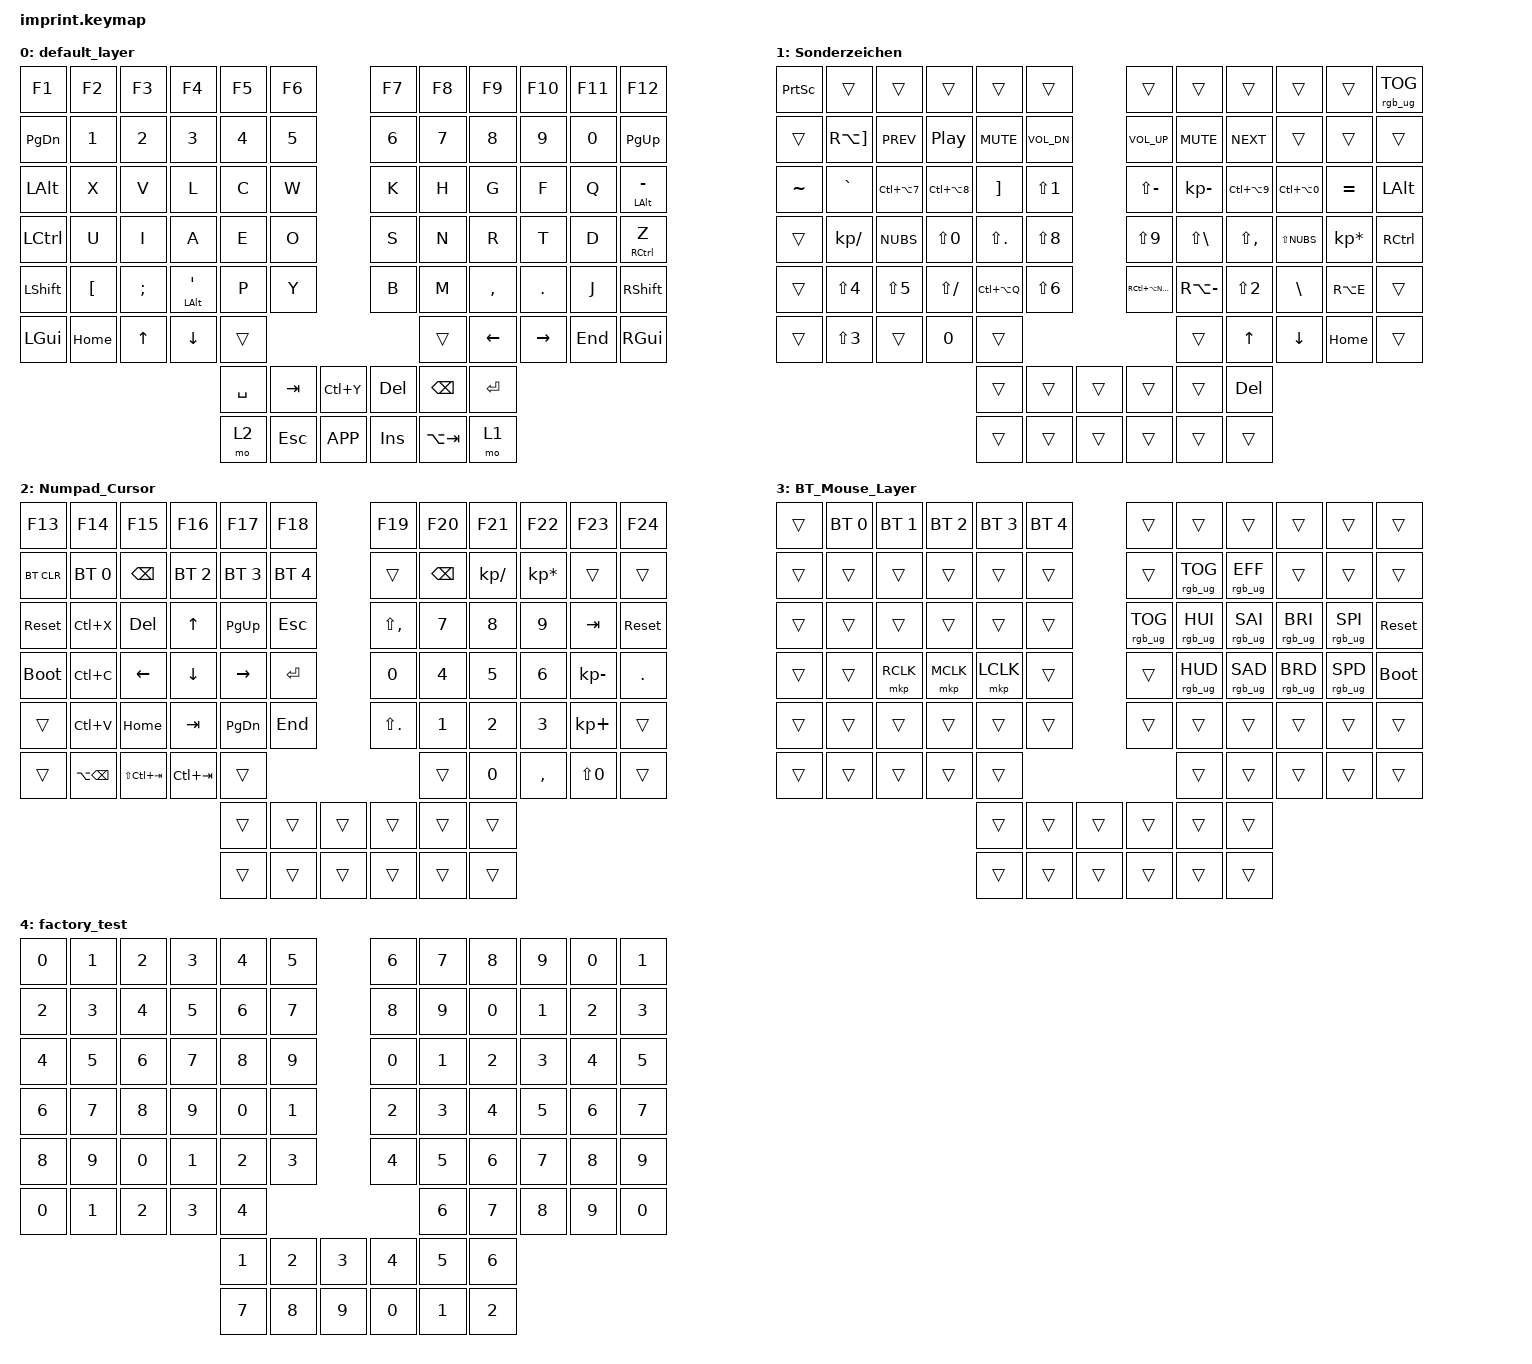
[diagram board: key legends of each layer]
#include <input/processors.dtsi>
#include <dt-bindings/zmk/input_transform.h>
#include <behaviors.dtsi>
#include <dt-bindings/zmk/bt.h>
#include <dt-bindings/zmk/keys.h>
#include <dt-bindings/zmk/pointing.h>
#include <dt-bindings/zmk/rgb.h>

/ {
    chosen { zmk,matrix-transform = &imprint_function_row_full_bottom_row; };

    keymap {
        compatible = "zmk,keymap";

        default_layer {
            bindings = <
&kp F1     &kp F2    &kp F3    &kp F4         &kp F5     &kp F6                &kp F7   &kp F8       &kp F9      &kp F10    &kp F11  &kp F12
&kp PG_DN  &kp N1    &kp N2    &kp N3         &kp N4     &kp N5                &kp N6   &kp N7       &kp N8      &kp N9     &kp N0   &kp PG_UP
&kp LALT   &kp X     &kp V     &kp L          &kp C      &kp W                 &kp K    &kp H        &kp G       &kp F      &kp Q    &mt LALT MINUS
&kp LCTRL  &kp U     &kp I     &kp A          &kp E      &kp O                 &kp S    &kp N        &kp R       &kp T      &kp D    &mt RCTRL Z
&kp LSHFT  &kp LBKT  &kp SEMI  &mt LALT APOS  &kp P      &kp Y                 &kp B    &kp M        &kp COMMA   &kp DOT    &kp J    &kp RSHFT
&kp LGUI   &kp HOME  &kp UP    &kp DOWN       &trans                                    &trans       &kp LEFT    &kp RIGHT  &kp END  &kp RGUI
                                              &kp SPACE  &kp TAB  &kp LC(Y)    &kp DEL  &kp BSPC     &kp RETURN
                                              &mo 2      &kp ESC  &kp K_APP    &kp INS  &kp LA(TAB)  &mo 1
            >;
        };

        Sonderzeichen {
            bindings = <
&kp PRINTSCREEN  &trans        &trans          &trans            &trans             &trans                  &trans            &trans             &trans          &trans          &trans           &rgb_ug RGB_TOG
&trans     &kp RA(RIGHT_BRACKET) &kp C_PREV      &kp C_PLAY_PAUSE  &kp C_MUTE         &kp C_VOL_DN            &kp C_VOL_UP      &kp C_MUTE         &kp C_NEXT      &trans          &trans           &trans
&kp TILDE        &kp GRAVE     &kp LC(LA(N7))  &kp LC(LA(N8))    &kp RIGHT_BRACKET  &kp LS(N1)              &kp LS(MINUS)     &kp KP_MINUS       &kp LC(LA(N9))  &kp LC(LA(N0))  &kp EQUAL        &kp LALT
&trans           &kp KP_SLASH  &kp NUBS        &kp LS(N0)        &kp LS(DOT)        &kp LS(N8)              &kp LS(N9)        &kp LS(BACKSLASH)  &kp LS(COMMA)   &kp LS(NUBS)    &kp KP_MULTIPLY  &kp RCTRL
&trans           &kp LS(N4)    &kp LS(N5)      &kp LS(SLASH)     &kp LC(LA(Q))      &kp LS(N6)              &kp RC(LA(NUBS))  &kp RA(MINUS)      &kp LS(N2)      &kp BACKSLASH   &kp RA(E)        &trans
&trans           &kp LS(N3)    &trans          &kp N0            &trans                                                       &trans             &kp UP          &kp DOWN        &kp HOME         &trans
                                                                 &trans             &trans        &trans    &trans            &trans             &kp DEL
                                                                 &trans             &trans        &trans    &trans            &trans             &trans
            >;
        };

        Numpad_Cursor {
            bindings = <
&kp F13      &kp F14       &kp F15          &kp F16       &kp F17       &kp F18                 &kp F19        &kp F20   &kp F21       &kp F22          &kp F23       &kp F24
&bt BT_CLR   &bt BT_SEL 0  &kp BSPC         &bt BT_SEL 2  &bt BT_SEL 3  &bt BT_SEL 4            &trans         &kp BSPC  &kp KP_SLASH  &kp KP_MULTIPLY  &trans        &trans
&sys_reset   &kp LC(X)     &kp DEL          &kp UP        &kp PG_UP     &kp ESC                 &kp LS(COMMA)  &kp N7    &kp N8        &kp N9           &kp TAB       &sys_reset
&bootloader  &kp LC(C)     &kp LEFT         &kp DOWN      &kp RIGHT     &kp RETURN              &kp N0         &kp N4    &kp N5        &kp N6           &kp KP_MINUS  &kp DOT
&trans       &kp LC(V)     &kp HOME         &kp TAB       &kp PG_DN     &kp END                 &kp LS(DOT)    &kp N1    &kp N2        &kp N3           &kp KP_PLUS   &trans
&trans       &kp LA(BSPC)  &kp LS(LC(TAB))  &kp LC(TAB)   &trans                                               &trans    &kp N0        &kp COMMA        &kp LS(N0)    &trans
                                                          &trans        &trans        &trans    &trans         &trans    &trans
                                                          &trans        &trans        &trans    &trans         &trans    &trans
            >;
        };

        BT_Mouse_Layer {
            bindings = <
&trans  &bt BT_SEL 0  &bt BT_SEL 1  &bt BT_SEL 2  &bt BT_SEL 3  &bt BT_SEL 4            &trans           &trans           &trans           &trans           &trans           &trans
&trans  &trans        &trans        &trans        &trans        &trans                  &trans           &rgb_ug RGB_TOG  &rgb_ug RGB_EFF  &trans           &trans           &trans
&trans  &trans        &trans        &trans        &trans        &trans                  &rgb_ug RGB_TOG  &rgb_ug RGB_HUI  &rgb_ug RGB_SAI  &rgb_ug RGB_BRI  &rgb_ug RGB_SPI  &sys_reset
&trans  &trans        &mkp RCLK     &mkp MCLK     &mkp LCLK     &trans                  &trans           &rgb_ug RGB_HUD  &rgb_ug RGB_SAD  &rgb_ug RGB_BRD  &rgb_ug RGB_SPD  &bootloader
&trans  &trans        &trans        &trans        &trans        &trans                  &trans           &trans           &trans           &trans           &trans           &trans
&trans  &trans        &trans        &trans        &trans                                                 &trans           &trans           &trans           &trans           &trans
                                                  &trans        &trans        &trans    &trans           &trans           &trans
                                                  &trans        &trans        &trans    &trans           &trans           &trans
            >;
        };

        factory_test {
            bindings = <
&kp N0  &kp N1  &kp N2  &kp N3  &kp N4  &kp N5            &kp N6  &kp N7  &kp N8  &kp N9  &kp N0  &kp N1
&kp N2  &kp N3  &kp N4  &kp N5  &kp N6  &kp N7            &kp N8  &kp N9  &kp N0  &kp N1  &kp N2  &kp N3
&kp N4  &kp N5  &kp N6  &kp N7  &kp N8  &kp N9            &kp N0  &kp N1  &kp N2  &kp N3  &kp N4  &kp N5
&kp N6  &kp N7  &kp N8  &kp N9  &kp N0  &kp N1            &kp N2  &kp N3  &kp N4  &kp N5  &kp N6  &kp N7
&kp N8  &kp N9  &kp N0  &kp N1  &kp N2  &kp N3            &kp N4  &kp N5  &kp N6  &kp N7  &kp N8  &kp N9
&kp N0  &kp N1  &kp N2  &kp N3  &kp N4                            &kp N6  &kp N7  &kp N8  &kp N9  &kp N0
                                &kp N1  &kp N2  &kp N3    &kp N4  &kp N5  &kp N6
                                &kp N7  &kp N8  &kp N9    &kp N0  &kp N1  &kp N2
            >;
        };
    };
};

// right hand trackball configuration
// &trackball_peripheral_listener {
//    input-processors =
//     activate layer 3 within 500ms of the trackball moving
//     <&zip_temp_layer 3 500>;
// };
//left hand trackball configuration

&trackball_central_listener {
    input-processors =
        // multiply sensitivity by 1, divide by 3 (make it slower for scrolling),,,
        <&zip_xy_scaler 1 3>,
        // make this trackball output scrolling events by default instead of cursor movement,,,
        <&zip_xy_to_scroll_mapper>,
        // invert vertical scrolling so that the view moves in the same direction as the top of the trackball.,,,
        <&zip_scroll_transform INPUT_TRANSFORM_Y_INVERT>;
};
